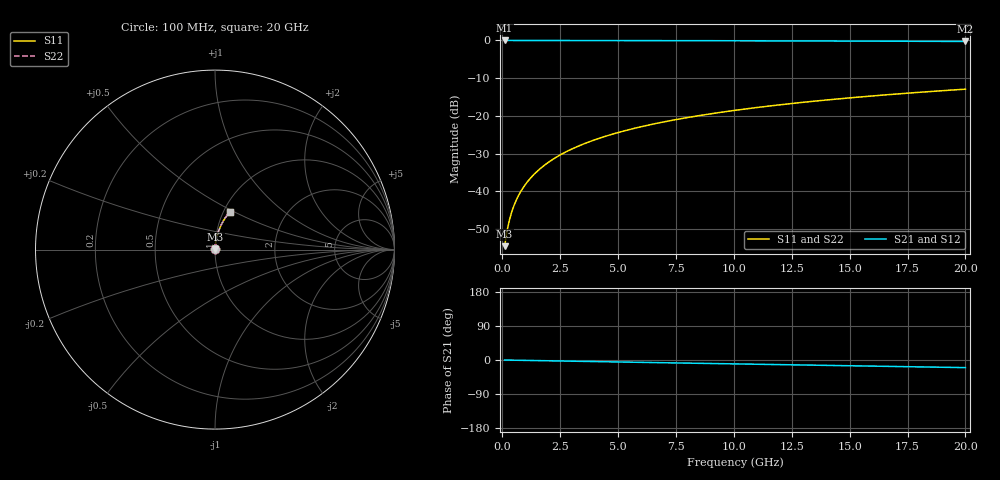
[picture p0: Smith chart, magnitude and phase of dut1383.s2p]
! Touchstone file exported from HFSS 2026.1.0
!  File:  C:/ffzhzh/LocalFiles/Ansys_Project_Files/temp_train_BSMRDL_1383_1783179574_18472.aedt
!  Generated:  11:40:47 PM Jul  4, 2026
!  Design:  BSMRDL
!  Project:  temp_train_BSMRDL_1383_1783179574_18472
! Variables:
!  h_bsmrdl = 3.61um
!  h_ox = 20um
!  h_rdl = 5um
!  h_sub = 80um
!  h_tmrdl = 5um
!  h_tsv = 80um
!  h_via = 3um
!  l_bsmrdl = 233.32um
!  l_sub = 633.32um
!  l_tmrdl = 200um
!  m_sub = 200um
!  pitch = 52.59um
!  r_tsv = 6um
!  s_tmrdl = 10um
!  w_bsmrdl = 19.69um
!  w_sub = 500um
!  w_tmrdl = 12um
!  x_tsv_center1 = 206um
!  x_tsv_center2 = 459.01um
!  x_tsv_center3 = 671.01um
!  x_tsv_center4 = 924.02um
!  x_tsv_center5 = 1136.02um
!  x_tsv_center6 = 1389.03um
# GHz S MA R 50.000000
! Terminal data exported
! Port[1] = BSM_RDL1_1_T1
! Port[2] = BSM_RDL1_1_T2
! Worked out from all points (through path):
!   200 points, 100 MHz to 20 GHz, reference 50 ohm
!   highest |S21| = -0.01 dB at 100 MHz (marker M1); lowest = -0.3 dB at 20 GHz (marker M2)
!   group delay of S21, straight-line fit = 2.79 ps
!   lowest |S11| = -54.5 dB at 100 MHz (marker M3), VSWR 1.00, Z = 50.1 + j0.129 ohm
!   |S11| at or under -10 dB: start of sweep to end of sweep
!   |S22| runs from -54.5 to -12.9 dB; largest |S21 - S12| = 2.7e-15
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0.1  0.001873 43.3  0.9986 -0.1  0.9986 -0.1  0.001873 43.3
! Gamma 0 0 0 0
! Port Impedance 50 0 50 0
0.2  0.002916 61.0  0.9986 -0.2  0.9986 -0.2  0.002916 61.0
0.3  0.004065 68.6  0.9985 -0.3  0.9985 -0.3  0.004065 68.6
0.4  0.005236 72.8  0.9985 -0.4  0.9985 -0.4  0.005236 72.8
0.5  0.006412 75.5  0.9984 -0.5  0.9984 -0.5  0.006412 75.5
0.6  0.007592 77.3  0.9984 -0.6  0.9984 -0.6  0.007592 77.3
0.8  0.009961 79.7  0.9983 -0.8  0.9983 -0.8  0.009961 79.7
1.1  0.01353 81.7  0.9982 -1.2  0.9982 -1.2  0.01353 81.7
1.5  0.01832 83.0  0.9981 -1.6  0.9981 -1.6  0.01832 83.0
1.8  0.02192 83.4  0.998 -1.9  0.998 -1.9  0.02192 83.4
2.1  0.02552 83.7  0.9979 -2.2  0.9979 -2.2  0.02552 83.7
2.7  0.03271 83.8  0.9975 -2.8  0.9975 -2.8  0.03271 83.8
3.5  0.04227 83.5  0.997 -3.6  0.997 -3.6  0.04227 83.5
4.2  0.05059 83.1  0.9964 -4.4  0.9964 -4.4  0.0506 83.0
5  0.06005 82.4  0.9957 -5.2  0.9957 -5.2  0.06005 82.4
5.9  0.07062 81.7  0.9948 -6.1  0.9948 -6.1  0.07062 81.7
6.8  0.08111 80.9  0.9937 -7.0  0.9937 -7.0  0.08111 80.9
8.3  0.09842 79.5  0.9918 -8.6  0.9918 -8.6  0.09842 79.5
10.1  0.1189 77.8  0.9891 -10.4  0.9891 -10.4  0.1189 77.8
13.4  0.1557 74.7  0.9834 -13.7  0.9834 -13.7  0.1557 74.7
16.7  0.1914 71.6  0.9765 -16.9  0.9765 -16.9  0.1914 71.6
20  0.2258 68.5  0.9688 -20.1  0.9688 -20.1  0.2258 68.5
